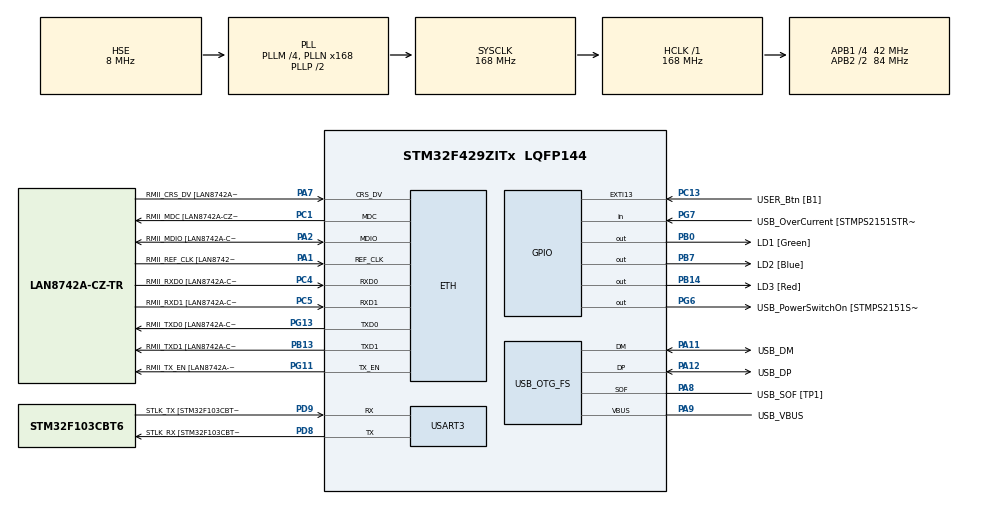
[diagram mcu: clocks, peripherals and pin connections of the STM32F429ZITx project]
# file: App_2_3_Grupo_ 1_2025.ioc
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ETH.MediaInterface=HAL_ETH_RMII_MODE
ETH.PHY_Name=LAN8742A_PHY_ADDRESS
ETH.PHY_Value=0
ETH.PhyAddress=0
Mcu.Family=STM32F4
Mcu.Name=STM32F429ZITx
Mcu.Package=LQFP144
NVIC.PriorityGroup=NVIC_PRIORITYGROUP_4
PA1.GPIO_Label=RMII_REF_CLK [LAN8742A-CZ-TR_REFCLK0]
PA1.Mode=RMII
PA1.Signal=ETH_REF_CLK
PA10.GPIO_Label=USB_ID
PA10.Signal=USB_OTG_FS_ID
PA11.GPIO_Label=USB_DM
PA11.Mode=Device_Only
PA11.Signal=USB_OTG_FS_DM
PA12.GPIO_Label=USB_DP
PA12.Mode=Device_Only
PA12.Signal=USB_OTG_FS_DP
PA13.GPIO_Label=TMS
PA13.Mode=Serial_Wire
PA13.Signal=SYS_JTMS-SWDIO
PA14.GPIO_Label=TCK
PA14.Mode=Serial_Wire
PA14.Signal=SYS_JTCK-SWCLK
PA2.GPIO_Label=RMII_MDIO [LAN8742A-CZ-TR_MDIO]
PA2.Mode=RMII
PA2.Signal=ETH_MDIO
PA7.GPIO_Label=RMII_CRS_DV [LAN8742A-CZ-TR_CRS_DV]
PA7.Mode=RMII
PA7.Signal=ETH_CRS_DV
PA8.GPIO_Label=USB_SOF [TP1]
PA8.Mode=Activate_SOF_FS
PA8.Signal=USB_OTG_FS_SOF
PA9.GPIO_Label=USB_VBUS
PA9.Mode=Activate_VBUS
PA9.Signal=USB_OTG_FS_VBUS
PB0.GPIO_Label=LD1 [Green]
PB0.Signal=GPIO_Output
PB13.GPIO_Label=RMII_TXD1 [LAN8742A-CZ-TR_TXD1]
PB13.Mode=RMII
PB13.Signal=ETH_TXD1
PB14.GPIO_Label=LD3 [Red]
PB14.Signal=GPIO_Output
PB7.GPIO_Label=LD2 [Blue]
PB7.Signal=GPIO_Output
PC1.GPIO_Label=RMII_MDC [LAN8742A-CZ-TR_MDC]
PC1.Mode=RMII
PC1.Signal=ETH_MDC
PC13.GPIO_Label=USER_Btn [B1]
PC13.Signal=GPXTI13
PC14/OSC32_IN.Mode=LSE-External-Oscillator
PC14/OSC32_IN.Signal=RCC_OSC32_IN
PC15/OSC32_OUT.Mode=LSE-External-Oscillator
PC15/OSC32_OUT.Signal=RCC_OSC32_OUT
PC4.GPIO_Label=RMII_RXD0 [LAN8742A-CZ-TR_RXD0]
PC4.Mode=RMII
PC4.Signal=ETH_RXD0
PC5.GPIO_Label=RMII_RXD1 [LAN8742A-CZ-TR_RXD1]
PC5.Mode=RMII
PC5.Signal=ETH_RXD1
PD8.GPIO_Label=STLK_RX [STM32F103CBT6_PA3]
PD8.Mode=Asynchronous
PD8.Signal=USART3_TX
PD9.GPIO_Label=STLK_TX [STM32F103CBT6_PA2]
PD9.Mode=Asynchronous
PD9.Signal=USART3_RX
PG11.GPIO_Label=RMII_TX_EN [LAN8742A-CZ-TR_TXEN]
PG11.Mode=RMII
PG11.Signal=ETH_TX_EN
PG13.GPIO_Label=RMII_TXD0 [LAN8742A-CZ-TR_TXD0]
PG13.Mode=RMII
PG13.Signal=ETH_TXD0
PG6.GPIO_Label=USB_PowerSwitchOn [STMPS2151STR_EN]
PG6.Signal=GPIO_Output
PG7.GPIO_Label=USB_OverCurrent [STMPS2151STR_FAULT]
PG7.Signal=GPIO_Input
PH0/OSC_IN.GPIO_Label=MCO [STM32F103CBT6_PA8]
PH0/OSC_IN.Mode=HSE-External-Clock-Source
PH0/OSC_IN.Signal=RCC_OSC_IN
PH1/OSC_OUT.Mode=HSE-External-Clock-Source
PH1/OSC_OUT.Signal=RCC_OSC_OUT
ProjectManager.HeapSize=0x200
ProjectManager.StackSize=0x400
ProjectManager.TargetToolchain=STM32CubeIDE
RCC.48MHZClocksFreq_Value=48000000
RCC.AHBFreq_Value=168000000
RCC.APB1CLKDivider=RCC_HCLK_DIV4
RCC.APB1Freq_Value=42000000
RCC.APB1TimFreq_Value=84000000
RCC.APB2CLKDivider=RCC_HCLK_DIV2
RCC.APB2Freq_Value=84000000
RCC.APB2TimCLKDivider=2
RCC.APB2TimFreq_Value=168000000
RCC.CortexFreq_Value=168000000
RCC.HCLKFreq_Value=168000000
RCC.HSE_VALUE=8000000
RCC.HSI_VALUE=16000000
RCC.PLLM=4
RCC.PLLMUL=RCC_PLL_MUL9
RCC.PLLN=168
RCC.PLLQ=7
RCC.PRESCALERUSB=RCC_USBCLKSOURCE_PLL_DIV1_5
RCC.SYSCLKFreq_VALUE=168000000
RCC.SYSCLKSource=RCC_SYSCLKSOURCE_PLLCLK
RCC.SYSCLKSourceVirtual=RCC_SYSCLKSOURCE_PLLCLK
RCC.USBFreq_Value=48000000
RCC.VCOOutputFreq_Value=336000000
USART3.VirtualMode=VM_ASYNC
USB_OTG_FS.VirtualMode=Device_Only
board=NUCLEO-F429ZI

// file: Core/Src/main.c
/* USER CODE BEGIN Header */
/**
  ******************************************************************************
  * @file           : main.c
  * @brief          : Main program body
  ******************************************************************************
  * @attention
  *
  * Copyright (c) 2025 STMicroelectronics.
  * All rights reserved.
  *
  * This software is licensed under terms that can be found in the LICENSE file
  * in the root directory of this software component.
  * If no LICENSE file comes with this software, it is provided AS-IS.
  *
  ******************************************************************************
  */
/* USER CODE END Header */
#include "main.h"

#define retardo1 150
#define retardo2 300
#define retardo3 100
#define retardo4 150
/* USER CODE BEGIN Includes */
#include "API_GPIO.h"
/* USER CODE END Includes */

/* USER CODE BEGIN PD */

 uint16_t LEDS[3] = {LD1_Pin, LD2_Pin, LD3_Pin}; /*Creo vector de LEDs de usuario*/

/* USER CODE END PD */

ETH_TxPacketConfig TxConfig;
ETH_DMADescTypeDef  DMARxDscrTab[ETH_RX_DESC_CNT]; /* Ethernet Rx DMA Descriptors */
ETH_DMADescTypeDef  DMATxDscrTab[ETH_TX_DESC_CNT]; /* Ethernet Tx DMA Descriptors */

ETH_HandleTypeDef heth;

UART_HandleTypeDef huart3;

PCD_HandleTypeDef hpcd_USB_OTG_FS;

void SystemClock_Config(void);

//Elimino static por que la uso para los drivers

// static void MX_GPIO_Init(void);

static void MX_ETH_Init(void);
static void MX_USART3_UART_Init(void);
static void MX_USB_OTG_FS_PCD_Init(void);
/* USER CODE BEGIN PFP */

//Declaración de funciones

void Secuencia1(uint16_t VECTOR_Led[3]);
void Secuencia2(uint16_t VECTOR_Led[3]);
void Secuencia3(uint16_t VECTOR_Led[3]);
void Secuencia4(uint16_t VECTOR_Led[3]);

/* USER CODE END PFP */

int main(void)
{
	uint16_t contador =1;
    uint16_t estado_siguiente_boton=0; // Pull-up en PC13
    uint16_t estado_actual_boton;

  /* MCU Configuration--------------------------------------------------------*/

  /* Reset of all peripherals, Initializes the Flash interface and the Systick. */
  HAL_Init();

  /* Configure the system clock */
  SystemClock_Config();

  /* Initialize all configured peripherals */
  MX_GPIO_Init();
  MX_ETH_Init();
  MX_USART3_UART_Init();
  MX_USB_OTG_FS_PCD_Init();

  /* Infinite loop */
  /* USER CODE BEGIN WHILE */
  while (1)
  {

	  do {
//SELECCION DE SECUENCIA
          switch (contador)
               {
      case 1:

    	  Secuencia1(LEDS);

                     break;

      case 2:

           Secuencia2(LEDS);

                     break;

      case 3:

           Secuencia3(LEDS);

                     break;
      case 4:

    	  Secuencia4(LEDS);

         break;

      default:

    	  Secuencia1(LEDS);

        	  break;

      }

      // Lectura del botón
      estado_actual_boton= readButton_GPIO();

      // Detectar flanco de bajada presionado)
      if ( estado_actual_boton==1 && estado_siguiente_boton==0)
      {
          contador++;
          if (contador > 5) contador = 1;
         HAL_Delay(20);//antirebote
          // Sale del do-while y cambia la secuencia
      }

      estado_siguiente_boton= estado_actual_boton;

  } while (estado_siguiente_boton !=0);

    /* USER CODE END WHILE */

  }
}

void SystemClock_Config(void)
{
  RCC_OscInitTypeDef RCC_OscInitStruct = {0};
  RCC_ClkInitTypeDef RCC_ClkInitStruct = {0};

  /** Configure the main internal regulator output voltage
  */
  __HAL_RCC_PWR_CLK_ENABLE();
  __HAL_PWR_VOLTAGESCALING_CONFIG(PWR_REGULATOR_VOLTAGE_SCALE1);

  /** Initializes the RCC Oscillators according to the specified parameters
  * in the RCC_OscInitTypeDef structure.
  */
  RCC_OscInitStruct.OscillatorType = RCC_OSCILLATORTYPE_HSE;
  RCC_OscInitStruct.HSEState = RCC_HSE_BYPASS;
  RCC_OscInitStruct.PLL.PLLState = RCC_PLL_ON;
  RCC_OscInitStruct.PLL.PLLSource = RCC_PLLSOURCE_HSE;
  RCC_OscInitStruct.PLL.PLLM = 4;
  RCC_OscInitStruct.PLL.PLLN = 168;
  RCC_OscInitStruct.PLL.PLLP = RCC_PLLP_DIV2;
  RCC_OscInitStruct.PLL.PLLQ = 7;
  if (HAL_RCC_OscConfig(&RCC_OscInitStruct) != HAL_OK)
  {
    Error_Handler();
  }

  /** Initializes the CPU, AHB and APB buses clocks
  */
  RCC_ClkInitStruct.ClockType = RCC_CLOCKTYPE_HCLK|RCC_CLOCKTYPE_SYSCLK
                              |RCC_CLOCKTYPE_PCLK1|RCC_CLOCKTYPE_PCLK2;
  RCC_ClkInitStruct.SYSCLKSource = RCC_SYSCLKSOURCE_PLLCLK;
  RCC_ClkInitStruct.AHBCLKDivider = RCC_SYSCLK_DIV1;
  RCC_ClkInitStruct.APB1CLKDivider = RCC_HCLK_DIV4;
  RCC_ClkInitStruct.APB2CLKDivider = RCC_HCLK_DIV2;

  if (HAL_RCC_ClockConfig(&RCC_ClkInitStruct, FLASH_LATENCY_5) != HAL_OK)
  {
    Error_Handler();
  }
}

static void MX_ETH_Init(void)
{

   static uint8_t MACAddr[6];

  heth.Instance = ETH;
  MACAddr[0] = 0x00;
  MACAddr[1] = 0x80;
  MACAddr[2] = 0xE1;
  MACAddr[3] = 0x00;
  MACAddr[4] = 0x00;
  MACAddr[5] = 0x00;
  heth.Init.MACAddr = &MACAddr[0];
  heth.Init.MediaInterface = HAL_ETH_RMII_MODE;
  heth.Init.TxDesc = DMATxDscrTab;
  heth.Init.RxDesc = DMARxDscrTab;
  heth.Init.RxBuffLen = 1524;

  if (HAL_ETH_Init(&heth) != HAL_OK)
  {
    Error_Handler();
  }

  memset(&TxConfig, 0 , sizeof(ETH_TxPacketConfig));
  TxConfig.Attributes = ETH_TX_PACKETS_FEATURES_CSUM | ETH_TX_PACKETS_FEATURES_CRCPAD;
  TxConfig.ChecksumCtrl = ETH_CHECKSUM_IPHDR_PAYLOAD_INSERT_PHDR_CALC;
  TxConfig.CRCPadCtrl = ETH_CRC_PAD_INSERT;

}

static void MX_USART3_UART_Init(void)
{

  huart3.Instance = USART3;
  huart3.Init.BaudRate = 115200;
  huart3.Init.WordLength = UART_WORDLENGTH_8B;
  huart3.Init.StopBits = UART_STOPBITS_1;
  huart3.Init.Parity = UART_PARITY_NONE;
  huart3.Init.Mode = UART_MODE_TX_RX;
  huart3.Init.HwFlowCtl = UART_HWCONTROL_NONE;
  huart3.Init.OverSampling = UART_OVERSAMPLING_16;
  if (HAL_UART_Init(&huart3) != HAL_OK)
  {
    Error_Handler();
  }

}

static void MX_USB_OTG_FS_PCD_Init(void)
{

  hpcd_USB_OTG_FS.Instance = USB_OTG_FS;
  hpcd_USB_OTG_FS.Init.dev_endpoints = 4;
  hpcd_USB_OTG_FS.Init.speed = PCD_SPEED_FULL;
  hpcd_USB_OTG_FS.Init.dma_enable = DISABLE;
  hpcd_USB_OTG_FS.Init.phy_itface = PCD_PHY_EMBEDDED;
  hpcd_USB_OTG_FS.Init.Sof_enable = ENABLE;
  hpcd_USB_OTG_FS.Init.low_power_enable = DISABLE;
  hpcd_USB_OTG_FS.Init.lpm_enable = DISABLE;
  hpcd_USB_OTG_FS.Init.vbus_sensing_enable = ENABLE;
  hpcd_USB_OTG_FS.Init.use_dedicated_ep1 = DISABLE;
  if (HAL_PCD_Init(&hpcd_USB_OTG_FS) != HAL_OK)
  {
    Error_Handler();
  }

}

//******************************************************
//FUNCIONES DE SECUENCIA

void Secuencia1(uint16_t VECTOR_Led[3])

{

for (uint8_t i = 0; i < 3; i++){

writeLedOn_GPIO( VECTOR_Led[i]);
HAL_Delay(retardo1);
writeLedOff_GPIO(VECTOR_Led[i]);

}

}

void Secuencia2(uint16_t VECTOR_Led[3])

{

writeLedOn_GPIO( VECTOR_Led[0]);
writeLedOn_GPIO( VECTOR_Led[1]);
writeLedOn_GPIO( VECTOR_Led[2]);

HAL_Delay(retardo2);

writeLedOff_GPIO(VECTOR_Led[0]);
writeLedOff_GPIO(VECTOR_Led[1]);
writeLedOff_GPIO(VECTOR_Led[2]);

HAL_Delay(retardo2);

		}

void Secuencia3(uint16_t VECTOR_Led[3])
{

	 toggleLed_GPIO(VECTOR_Led[0]);
	 HAL_Delay(retardo3);
	 toggleLed_GPIO(VECTOR_Led[0]);
	 HAL_Delay(retardo3);
	 toggleLed_GPIO(VECTOR_Led[0]);
	 HAL_Delay(retardo3);

	 toggleLed_GPIO(VECTOR_Led[0]);
	 toggleLed_GPIO(VECTOR_Led[1]);
	 HAL_Delay(retardo3);

	 toggleLed_GPIO(VECTOR_Led[0]);
	 HAL_Delay(retardo3);
	 toggleLed_GPIO(VECTOR_Led[0]);
	 HAL_Delay(retardo3);

	 toggleLed_GPIO(VECTOR_Led[0]);
	 toggleLed_GPIO(VECTOR_Led[1]);
	 toggleLed_GPIO(VECTOR_Led[2]);
	 HAL_Delay(retardo3);
}

void Secuencia4(uint16_t VECTOR_Led[3])
{

	toggleLed_GPIO(VECTOR_Led[0]);
	toggleLed_GPIO(VECTOR_Led[2]);
	HAL_Delay(retardo4);

	toggleLed_GPIO(VECTOR_Led[0]);
	toggleLed_GPIO(VECTOR_Led[2]);

	toggleLed_GPIO(VECTOR_Led[1]);
	HAL_Delay(retardo4);
	toggleLed_GPIO(VECTOR_Led[1]);
}

void Error_Handler(void)
{
  __disable_irq();
  while (1)
  {
  }
}
